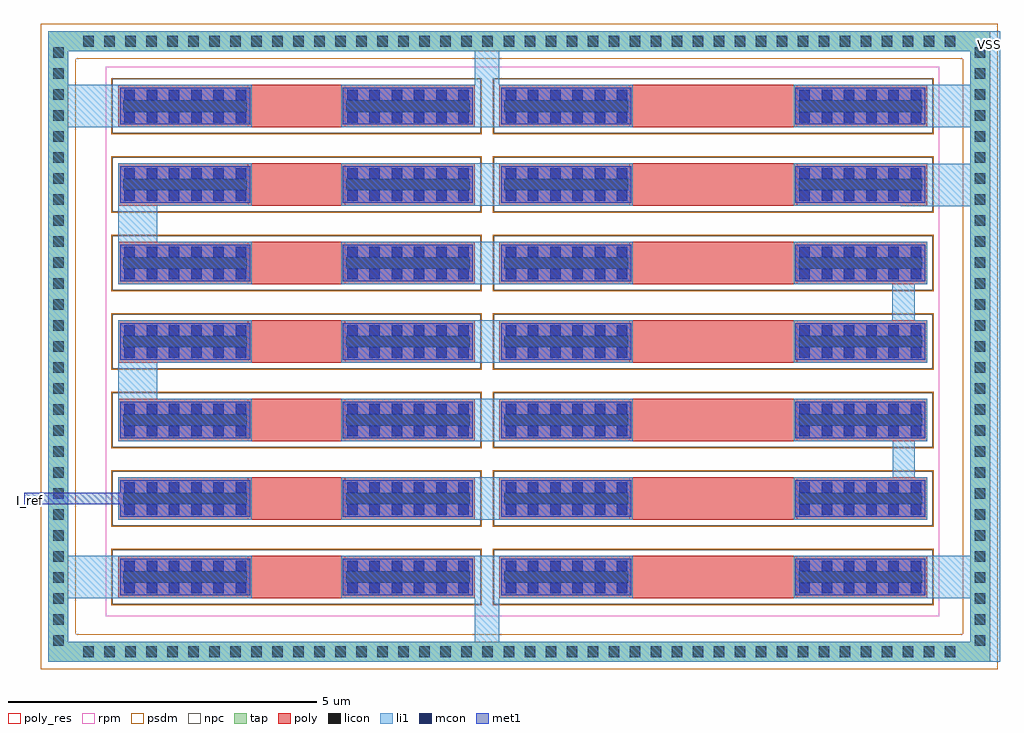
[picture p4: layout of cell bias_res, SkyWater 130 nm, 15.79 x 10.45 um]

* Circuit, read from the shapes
.subckt bias_res I_ref VSS
XR1 VSS VSS VSS sky130_fd_pr__res_high_po w=0.69 l=1.45 m=2
XR2 n1 I_ref VSS sky130_fd_pr__res_high_po w=0.69 l=1.45
XR3 n2 n3 VSS sky130_fd_pr__res_high_po w=0.69 l=1.45
XR4 n4 n3 VSS sky130_fd_pr__res_high_po w=0.69 l=1.45
XR5 n5 n6 VSS sky130_fd_pr__res_high_po w=0.69 l=1.45
XR6 n7 n6 VSS sky130_fd_pr__res_high_po w=0.69 l=1.45
XR7 VSS VSS VSS sky130_fd_pr__res_high_po w=0.69 l=2.6 m=2
XR8 n8 n1 VSS sky130_fd_pr__res_high_po w=0.69 l=2.6
XR9 n8 n2 VSS sky130_fd_pr__res_high_po w=0.69 l=2.6
XR10 n9 n4 VSS sky130_fd_pr__res_high_po w=0.69 l=2.6
XR11 n9 n5 VSS sky130_fd_pr__res_high_po w=0.69 l=2.6
XR12 VSS n7 VSS sky130_fd_pr__res_high_po w=0.69 l=2.6
.ends

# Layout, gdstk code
from math import pi, radians
import gdstk
lib = gdstk.Library(unit=1e-6, precision=1e-09)
def R(c, l, rs):  # rectangles x0, y0, x1, y1
    for r in rs: c.add(gdstk.rectangle(r[:2], r[2:], *l))
def A(c, l, x, y, w, h, nx, ny, dx, dy):  # array of equal rectangles
    R(c, l, [(x+i*dx, y+j*dy, x+i*dx+w, y+j*dy+h) for i in range(nx) for j in range(ny)])
tap = (65, 44)
poly_res = (66, 13)
poly = (66, 20)
licon = (66, 44)
li1 = (67, 20)
mcon = (67, 44)
met1 = (68, 20)
rpm = (86, 20)
psdm = (94, 20)
npc = (95, 20)

res_poly = lib.new_cell('res_poly')
R(res_poly, poly_res, [(-0.345,-0.785,0.345,0.785)])
R(res_poly, poly, [(-0.345,-2.885,0.345,2.885)])
R(res_poly, licon, [(-0.095,-2.805,0.095,-0.805), (-0.095,0.805,0.095,2.805)])
R(res_poly, li1, [(-0.345,-2.885,0.345,-0.725), (-0.345,0.725,0.345,2.885)])
A(res_poly, mcon, -0.265, -2.785, 0.17, 0.17, 1, 6, 0, 0.36)
A(res_poly, mcon, 0.095, -2.785, 0.17, 0.17, 1, 6, 0, 0.36)
A(res_poly, mcon, -0.265, 0.82, 0.17, 0.17, 1, 6, 0, 0.36)
A(res_poly, mcon, 0.095, 0.82, 0.17, 0.17, 1, 6, 0, 0.36)
R(res_poly, met1, [(-0.295,-2.855,0.295,-0.75), (-0.295,0.75,0.295,2.855)])
R(res_poly, rpm, [(-0.635,-3.085,0.635,3.085)])
R(res_poly, psdm, [(-0.455,-2.995,0.455,2.995)])
R(res_poly, npc, [(-0.44,-2.98,0.44,2.98)])

vias_gen_25 = lib.new_cell('vias_gen$25')
R(vias_gen_25, tap, [(0,0,14.6,0.32)])
A(vias_gen_25, licon, 0.245, 0.075, 0.17, 0.17, 42, 1, 0.34, 0)
R(vias_gen_25, li1, [(0,0,14.6,0.32)])
R(vias_gen_25, psdm, [(-0.125,-0.125,14.725,0.445)])

vias_gen_18 = lib.new_cell('vias_gen$18')
R(vias_gen_18, tap, [(0,0,10.2,0.32)])
A(vias_gen_18, licon, 0.255, 0.075, 0.17, 0.17, 29, 1, 0.34, 0)
R(vias_gen_18, li1, [(0,0,10.2,0.32)])
R(vias_gen_18, psdm, [(-0.125,-0.125,10.325,0.445)])

res_poly_2 = lib.new_cell('res_poly$2')
R(res_poly_2, poly_res, [(-0.345,-1.36,0.345,1.36)])
R(res_poly_2, poly, [(-0.345,-3.46,0.345,3.46)])
R(res_poly_2, licon, [(-0.095,-3.38,0.095,-1.38), (-0.095,1.38,0.095,3.38)])
R(res_poly_2, li1, [(-0.345,-3.46,0.345,-1.3), (-0.345,1.3,0.345,3.46)])
A(res_poly_2, mcon, -0.265, -3.36, 0.17, 0.17, 1, 6, 0, 0.36)
A(res_poly_2, mcon, 0.095, -3.36, 0.17, 0.17, 1, 6, 0, 0.36)
A(res_poly_2, mcon, -0.265, 1.395, 0.17, 0.17, 1, 6, 0, 0.36)
A(res_poly_2, mcon, 0.095, 1.395, 0.17, 0.17, 1, 6, 0, 0.36)
R(res_poly_2, met1, [(-0.295,-3.43,0.295,-1.325), (-0.295,1.325,0.295,3.43)])
R(res_poly_2, rpm, [(-0.635,-3.66,0.635,3.66)])
R(res_poly_2, psdm, [(-0.455,-3.57,0.455,3.57)])
R(res_poly_2, npc, [(-0.44,-3.555,0.44,3.555)])

bias_res = lib.new_cell('bias_res')
A(bias_res, li1, 19.85, 35.55, 0.4, 0.69, 1, 5, 0, 1.27)
R(bias_res, li1, [(27.93,34.525,28.35,44.725), (19.85,34.7,20.25,35.55), (12.95,35.55,14.08,36.24), (26.97,35.55,28.19,36.24), (26.615,37.51,26.97,38.78), (14.08,38.78,14.71,40.05), (26.605,40.05,26.97,41.32), (14.08,41.24,14.71,42.59), (26.745,41.895,27.965,42.585), (19.845,41.9,20.25,42.59), (12.95,43.17,14.08,43.86), (19.85,43.17,20.25,44.725), (26.76,43.17,27.98,43.86)])
R(bias_res, met1, [(12.555,37.07,14.16,37.26)])
bias_res.add(gdstk.Reference(res_poly, (16.965,42.245), rotation=3*pi/2))
bias_res.add(gdstk.Reference(res_poly, (16.965,40.975), rotation=3*pi/2))
bias_res.add(gdstk.Reference(res_poly, (16.965,43.515), rotation=3*pi/2))
bias_res.add(gdstk.Reference(res_poly, (16.965,39.705), rotation=3*pi/2))
bias_res.add(gdstk.Reference(res_poly, (16.965,37.165), rotation=3*pi/2))
bias_res.add(gdstk.Reference(res_poly, (16.965,35.895), rotation=3*pi/2))
bias_res.add(gdstk.Reference(res_poly, (16.965,38.435), rotation=3*pi/2))
bias_res.add(gdstk.Reference(vias_gen_25, (27.87,44.725), rotation=pi))
bias_res.add(gdstk.Reference(vias_gen_18, (12.95,44.725), rotation=3*pi/2))
bias_res.add(gdstk.Reference(vias_gen_18, (27.87,44.725), rotation=3*pi/2))
bias_res.add(gdstk.Reference(vias_gen_25, (27.87,34.845), rotation=pi))
bias_res.add(gdstk.Reference(res_poly_2, (23.71,42.245), rotation=3*pi/2))
bias_res.add(gdstk.Reference(res_poly_2, (23.71,40.975), rotation=3*pi/2))
bias_res.add(gdstk.Reference(res_poly_2, (23.71,39.705), rotation=3*pi/2))
bias_res.add(gdstk.Reference(res_poly_2, (23.71,38.435), rotation=3*pi/2))
bias_res.add(gdstk.Reference(res_poly_2, (23.71,37.165), rotation=3*pi/2))
bias_res.add(gdstk.Reference(res_poly_2, (23.71,35.895), rotation=3*pi/2))
bias_res.add(gdstk.Reference(res_poly_2, (23.71,43.515), rotation=3*pi/2))
bias_res.add(gdstk.Label('VSS', (28.18,44.505), layer=67, texttype=16))
bias_res.add(gdstk.Label('I_ref', (12.64,37.14), layer=68, texttype=16))

lib.write_gds('bias_res.gds')
